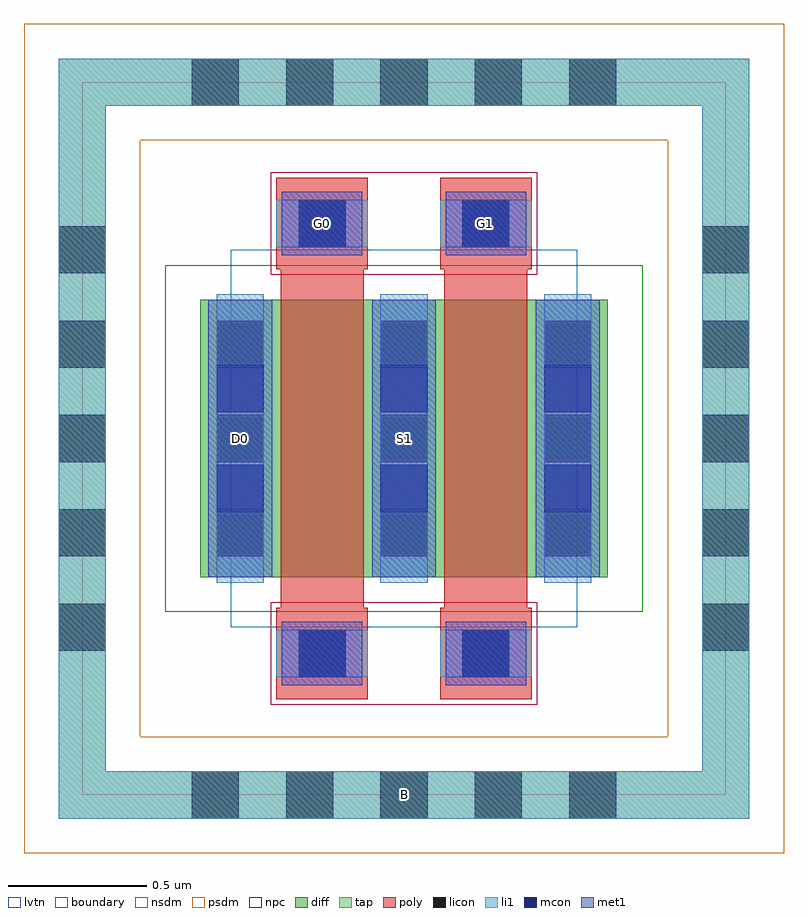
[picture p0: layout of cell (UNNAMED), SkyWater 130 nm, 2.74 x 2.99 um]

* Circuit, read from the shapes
.subckt (UNNAMED) B D0 G0 G1 S1
XM1 S1 G0 D0 B sky130_fd_pr__nfet_01v8_lvt w=1 l=0.3
XM2 n1 G1 S1 B sky130_fd_pr__nfet_01v8_lvt w=1 l=0.3
.ends

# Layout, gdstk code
import gdstk
lib = gdstk.Library(unit=1e-6, precision=1e-09)
def R(c, l, rs):  # rectangles x0, y0, x1, y1
    for r in rs: c.add(gdstk.rectangle(r[:2], r[2:], *l))
def A(c, l, x, y, w, h, nx, ny, dx, dy):  # array of equal rectangles
    R(c, l, [(x+i*dx, y+j*dy, x+i*dx+w, y+j*dy+h) for i in range(nx) for j in range(ny)])
diff = (65, 20)
tap = (65, 44)
poly = (66, 20)
licon = (66, 44)
li1 = (67, 20)
mcon = (67, 44)
met1 = (68, 20)
nsdm = (93, 44)
psdm = (94, 20)
npc = (95, 20)
lvtn = (125, 44)
boundary = (235, 4)

c__unnamed_ = lib.new_cell('(UNNAMED)')
R(c__unnamed_, diff, [(-0.735,-0.5,0.735,0.5)])
R(c__unnamed_, tap, [(-1.245,-1.37,1.245,-1.2), (-1.245,-1.2,-1.075,1.2), (1.075,-1.2,1.245,1.2), (-1.245,1.2,1.245,1.37)])
R(c__unnamed_, poly, [(-0.46,-0.94,-0.13,-0.61), (0.13,-0.94,0.46,-0.61), (-0.445,-0.61,-0.145,0.61), (0.145,-0.61,0.445,0.61), (-0.46,0.61,-0.13,0.94), (0.13,0.61,0.46,0.94)])
A(c__unnamed_, licon, -0.765, -1.37, 0.17, 0.17, 5, 2, 0.34, 2.57)
A(c__unnamed_, licon, -1.245, -0.765, 0.17, 0.17, 1, 5, 0, 0.34)
A(c__unnamed_, licon, 1.075, -0.765, 0.17, 0.17, 1, 5, 0, 0.34)
A(c__unnamed_, licon, -0.675, -0.425, 0.17, 0.17, 3, 3, 0.59, 0.34)
R(c__unnamed_, licon, [(-0.38,-0.86,-0.21,-0.69), (0.21,-0.86,0.38,-0.69), (-0.38,0.69,-0.21,0.86), (0.21,0.69,0.38,0.86)])
A(c__unnamed_, li1, -0.675, -0.52, 0.17, 1.04, 3, 1, 0.59, 0)
R(c__unnamed_, li1, [(-1.245,-1.37,1.245,-1.2), (-1.245,-1.2,-1.075,1.2), (1.075,-1.2,1.245,1.2), (-0.46,-0.86,-0.13,-0.69), (0.13,-0.86,0.46,-0.69), (-0.46,0.69,-0.13,0.86), (0.13,0.69,0.46,0.86), (-1.245,1.2,1.245,1.37)])
A(c__unnamed_, mcon, -0.675, -0.265, 0.17, 0.17, 3, 2, 0.59, 0.36)
R(c__unnamed_, mcon, [(-0.38,-0.86,-0.21,-0.69), (0.21,-0.86,0.38,-0.69), (-0.38,0.69,-0.21,0.86), (0.21,0.69,0.38,0.86)])
A(c__unnamed_, met1, -0.705, -0.5, 0.23, 1, 3, 1, 0.59, 0)
R(c__unnamed_, met1, [(-0.44,-0.89,-0.15,-0.66), (0.15,-0.89,0.44,-0.66), (-0.44,0.66,-0.15,0.89), (0.15,0.66,0.44,0.89)])
R(c__unnamed_, nsdm, [(-0.86,-0.625,0.86,0.625)])
R(c__unnamed_, psdm, [(-1.37,-1.495,1.37,-1.075), (-1.37,-1.075,-0.95,1.075), (0.95,-1.075,1.37,1.075), (-1.37,1.075,1.37,1.495)])
R(c__unnamed_, npc, [(-0.48,-0.96,0.48,-0.59), (-0.48,0.59,0.48,0.96)])
R(c__unnamed_, lvtn, [(-0.625,-0.68,0.625,0.68)])
R(c__unnamed_, boundary, [(-1.16,-1.285,1.16,1.285)])
c__unnamed_.add(gdstk.Label('B', (0,-1.285), layer=67, texttype=5))
c__unnamed_.add(gdstk.Label('D0', (-0.59,0), layer=67, texttype=5))
c__unnamed_.add(gdstk.Label('G0', (-0.295,0.775), layer=67, texttype=5))
c__unnamed_.add(gdstk.Label('S1', (0,0), layer=67, texttype=5))
c__unnamed_.add(gdstk.Label('G1', (0.295,0.775), layer=67, texttype=5))

lib.write_gds('_UNNAMED_.gds')
